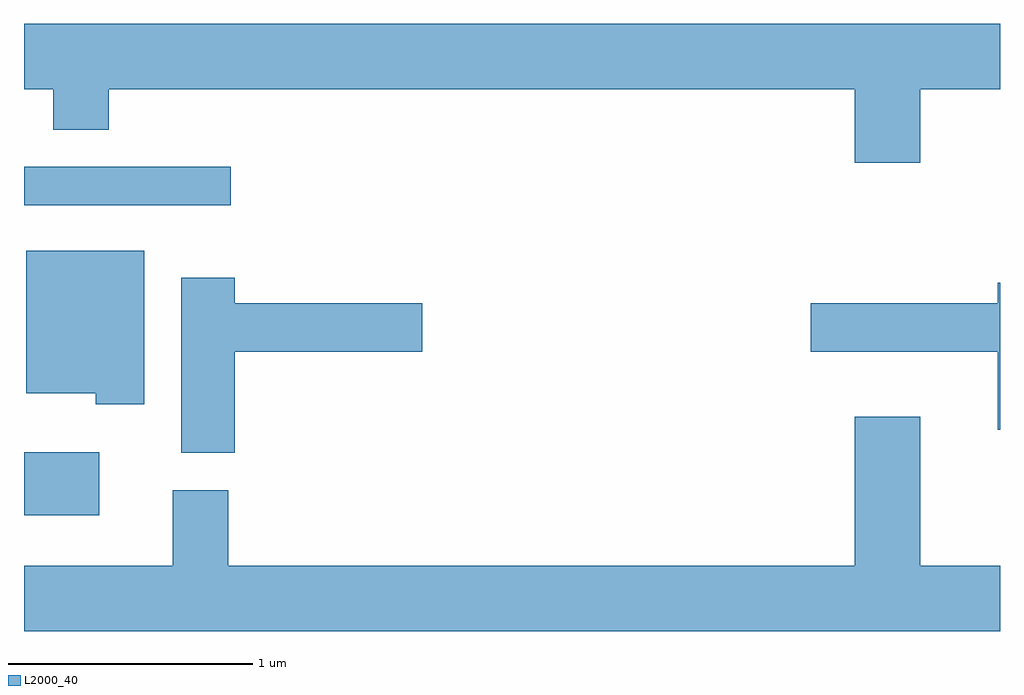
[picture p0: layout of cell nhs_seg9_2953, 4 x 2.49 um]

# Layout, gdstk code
import gdstk
lib = gdstk.Library(unit=1e-6, precision=1e-09)
def R(c, l, rs):  # rectangles x0, y0, x1, y1
    for r in rs: c.add(gdstk.rectangle(r[:2], r[2:], *l))
def P(c, l, *ps):  # polygons
    for p in ps: c.add(gdstk.Polygon(p, *l))
L2000_40 = (2000, 40)

nhs_seg9_2953 = lib.new_cell('nhs_seg9_2953')
R(nhs_seg9_2953, L2000_40, [(271.611,2012.271,271.919,2012.529), (271.611,2013.541,272.458,2013.699)])
P(nhs_seg9_2953, L2000_40, [(275.284,2014.016),(275.611,2014.016),(275.611,2014.284),(271.611,2014.284),(271.611,2014.016),(271.731,2014.016),(271.731,2013.851),(271.959,2013.851),(271.959,2014.016),(275.016,2014.016),(275.016,2013.716),(275.284,2013.716)],
  [(272.104,2013.354),(271.621,2013.354),(271.621,2012.771),(271.906,2012.771),(271.906,2012.726),(272.104,2012.726)],
  [(272.474,2012.941),(273.244,2012.941),(273.244,2013.139),(272.474,2013.139),(272.474,2013.244),(272.256,2013.244),(272.256,2012.526),(272.474,2012.526)],
  [(275.611,2013.224),(275.601,2013.224),(275.601,2013.139),(274.836,2013.139),(274.836,2012.941),(275.601,2012.941),(275.601,2012.621),(275.611,2012.621)],
  [(275.611,2012.064),(275.284,2012.064),(275.284,2012.674),(275.016,2012.674),(275.016,2012.064),(272.449,2012.064),(272.449,2012.374),(272.221,2012.374),(272.221,2012.064),(271.611,2012.064),(271.611,2011.796),(275.611,2011.796)])

lib.write_gds('nhs_seg9_2953.gds')
